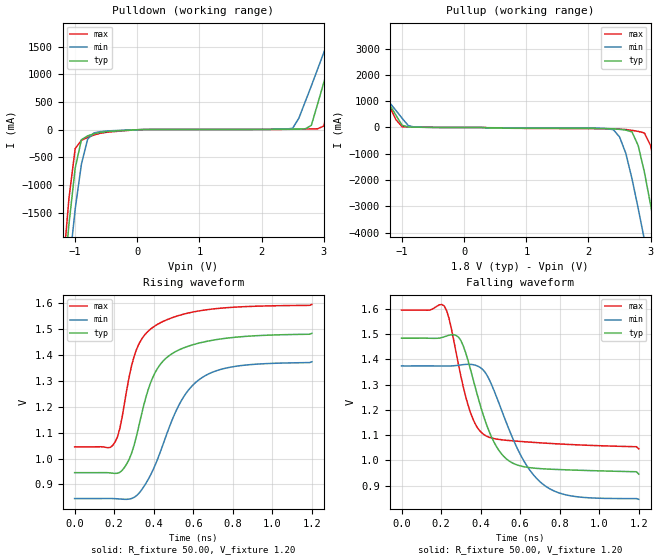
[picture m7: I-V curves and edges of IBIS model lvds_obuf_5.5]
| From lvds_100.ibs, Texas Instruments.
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|   Model lvds_obuf_5.5
[Model]   lvds_obuf_5.5
Model_type   Output
Polarity   Non-Inverting
Vmeas =   1.2000V
C_comp   4.00pF   4.00pF   4.00pF
[Temperature Range]   25.00   0.12k   -40.00
[Voltage Range]   1.80V   1.65V   1.95V
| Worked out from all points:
|   slope of the pulldown table from 0 to 0.27 V, typ, clamps not added: 54 ohm
|   slope of the pullup table from 0 to 0.27 V, typ, clamps not added: 18.8 kohm
|   rising waveform, R_fixture 50.00, V_fixture 1.20: 20-80 % time 146ps typ, 186ps min, 124ps max; typ from 0.945 V to 1.48 V
|   falling waveform, R_fixture 50.00, V_fixture 1.20: 20-80 % time 138ps typ, 186ps min, 105ps max; typ from 1.48 V to 0.945 V
[Pulldown]
| voltage   I(typ)   I(min)   I(max)
-1.8V     -11.22A    -11.51A    -11.58A
-1.2V     -2.94A     -3.66A     -2.55A
-1.1V     -1.7A      -2.49A     -1.23A
-1V       -690mA     -1.43A     -340mA
-900mV    -180mA     -620mA     -190mA
-700mV    -74.6mA    -58.33mA   -95.73mA
2.5V      11.08mA    26.75mA    8.85mA
2.8V      78.64mA    790mA      14.6mA
3V        850mA      1.39A      65.74mA
3.2V      1.64A      2A         1.04A
3.4V      2.43A      2.87A      2.05A
3.6V      3.25A      7.06A      3.06A
[Pullup]
| voltage   I(typ)   I(min)   I(max)
-1.8V     3.24A      3.32A      3.83A
-1.6V     2.43A      2.15A      2.81A
-1V       81.89mA    350mA      27.62mA
2.4V      -52.76mA   -86.22mA   -54.13mA
2.6V      -100mA     -980mA     -78.15mA
2.7V      -170mA     -1.95A     -110mA
2.9V      -1.7A      -4.28A     -210mA
3V        -2.95A     -5.51A     -690mA
3.1V      -4.28A     -6.77A     -1.86A
3.2V      -5.64A     -8.05A     -3.27A
3.3V      -7.03A     -9.34A     -4.74A
3.6V      -11.27A    -15.13A    -9.31A
[Ramp]
| variable   typ   min   max
dV/dt_r   0.66/0.16n   0.48/0.22n   0.80/0.12n
dV/dt_f   0.21/0.12n   0.20/0.17n   0.25/95.51p
R_load = 50.00
[Rising Waveform]
R_fixture = 50.00
V_fixture = 1.20
V_fixture_min = 1.10
V_fixture_max = 1.30
| time   V(typ)   V(min)   V(max)
0s        945.3mV    845.3mV    1.045V
180ps     944.4mV    845.5mV    1.043V
216ps     943mV      844.4mV    1.082V
240ps     953.8mV    842.9mV    1.159V
312ps     1.084V     855.8mV    1.419V
372ps     1.266V     919mV      1.492V
420ps     1.349V     998.3mV    1.519V
540ps     1.424V     1.224V     1.555V
648ps     1.449V     1.314V     1.573V
1.2ns     1.484V     1.374V     1.595V
[Falling Waveform]
R_fixture = 50.00
V_fixture = 1.20
V_fixture_min = 1.10
V_fixture_max = 1.30
| time   V(typ)   V(min)   V(max)
0s        1.484V     1.374V     1.595V
216ps     1.489V     1.373V     1.611V
300ps     1.475V     1.378V     1.334V
360ps     1.327V     1.379V     1.166V
420ps     1.164V     1.351V     1.1V
528ps     1.007V     1.154V     1.079V
612ps     975.6mV    1.007V     1.074V
708ps     966.6mV    909.8mV    1.069V
864ps     961.4mV    858.1mV    1.062V
1.2ns     945.3mV    845.3mV    1.045V
